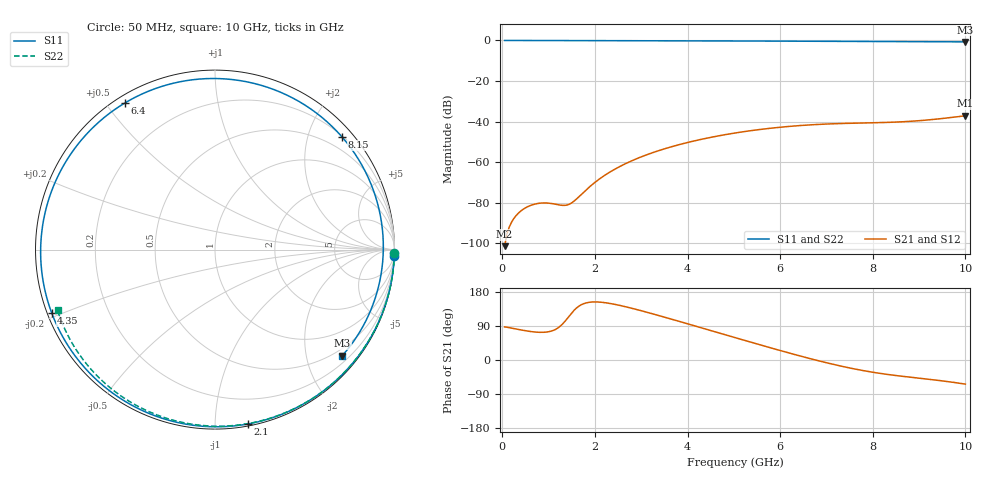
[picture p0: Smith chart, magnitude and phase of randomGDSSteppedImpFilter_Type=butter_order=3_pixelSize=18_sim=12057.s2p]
! freq	dB(S11)	phase(S11)	dB(S12)	phase(S12)
!  dB(S21)	phase(S21)	dB(S22)	phase(S22)
!S-par simulation data
#  GHz  S  DB  R 50
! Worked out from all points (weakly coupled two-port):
!   200 points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, 50 MHz to 10 GHz, reference 50 ohm
!   highest |S21| = -37.11 dB at 10 GHz (marker M1); lowest = -101.4 dB at 50 MHz (marker M2)
!   lowest |S11| = -0.7 dB at 10 GHz (marker M3), VSWR 24.98, Z = 17.1 - j136 ohm
!   |S11| at or under -10 dB: nowhere
!   |S22| runs from -0.5 to 0.0 dB; largest |S21 - S12| = 0
!   S11 on the Smith chart (normalised r, x): 50 MHz: 1, -58; 2.1 GHz: 0.01, -1.20; 4.35 GHz: 0.01, -0.19; 6.4 GHz: 0.03, +0.56; 8.15 GHz: 0.22, +2.62; 10 GHz: 0.34, -2.73
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0.05  -0.01 -2.0  -101.37 87.3  -101.37 87.3  -0.00 -0.9
0.75  -0.03 -29.1  -80.40 73.4  -80.40 73.4  -0.02 -13.7
1.5  -0.07 -57.4  -80.02 124.4  -80.02 124.4  -0.03 -27.2
1.75  -0.08 -66.7  -74.94 148.2  -74.94 148.2  -0.04 -31.6
2.1  -0.10 -79.4  -68.22 152.8  -68.22 152.8  -0.05 -37.8
2.75  -0.13 -102.7  -59.77 137.9  -59.77 137.9  -0.06 -49.0
3.4  -0.16 -125.5  -54.13 116.6  -54.13 116.6  -0.08 -60.0
3.9  -0.18 -143.0  -50.86 99.1  -50.86 99.1  -0.09 -68.2
4.35  -0.21 -158.9  -48.46 83.2  -48.46 83.2  -0.11 -75.4
5.05  -0.26 175.6  -45.52 58.2  -45.52 58.2  -0.13 -86.4
5.7  -0.31 150.6  -43.49 35.4  -43.49 35.4  -0.16 -96.4
6.4  -0.36 121.7  -41.98 11.6  -41.98 11.6  -0.20 -106.8
6.7  -0.39 108.6  -41.53 1.9  -41.53 1.9  -0.22 -111.2
7.05  -0.41 92.9  -41.14 -8.7  -41.14 -8.7  -0.24 -116.3
7.4  -0.44 76.8  -40.87 -18.4  -40.87 -18.4  -0.27 -121.4
7.75  -0.46 60.4  -40.69 -27.0  -40.69 -27.0  -0.29 -126.4
8.15  -0.48 41.6  -40.49 -35.2  -40.49 -35.2  -0.33 -132.1
8.35  -0.50 32.3  -40.35 -38.6  -40.35 -38.6  -0.35 -135.0
8.75  -0.53 13.8  -39.93 -44.6  -39.93 -44.6  -0.39 -140.7
9.15  -0.57 -4.1  -39.26 -50.0  -39.26 -50.0  -0.43 -146.5
9.55  -0.62 -21.3  -38.34 -55.9  -38.34 -55.9  -0.48 -152.3
10  -0.70 -39.8  -37.11 -63.6  -37.11 -63.6  -0.53 -158.9
